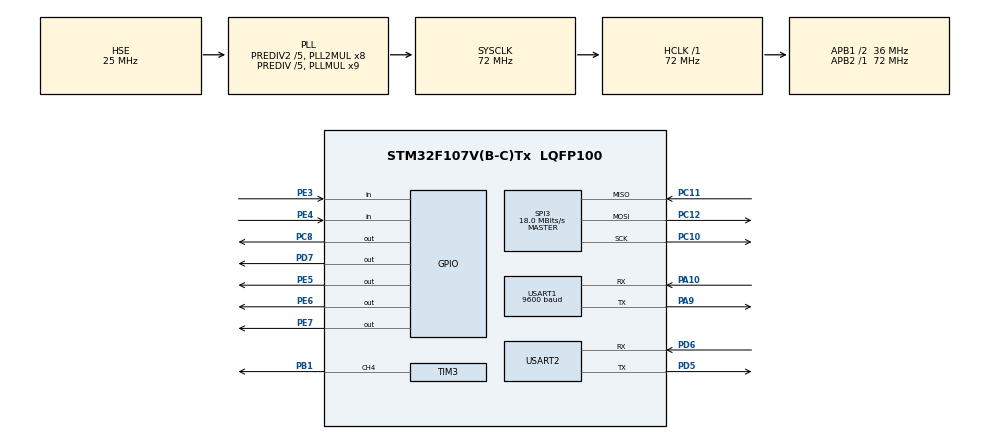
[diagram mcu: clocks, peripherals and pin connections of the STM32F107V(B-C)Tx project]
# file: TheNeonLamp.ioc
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Dma.Request0=TIM3_CH4/UP
Dma.TIM3_CH4/UP.0.Direction=DMA_MEMORY_TO_PERIPH
Dma.TIM3_CH4/UP.0.Instance=DMA1_Channel3
Dma.TIM3_CH4/UP.0.MemDataAlignment=DMA_MDATAALIGN_HALFWORD
Dma.TIM3_CH4/UP.0.MemInc=DMA_MINC_ENABLE
Dma.TIM3_CH4/UP.0.Mode=DMA_CIRCULAR
Dma.TIM3_CH4/UP.0.PeriphDataAlignment=DMA_PDATAALIGN_HALFWORD
Dma.TIM3_CH4/UP.0.PeriphInc=DMA_PINC_DISABLE
Dma.TIM3_CH4/UP.0.Priority=DMA_PRIORITY_HIGH
Mcu.Family=STM32F1
Mcu.Name=STM32F107V(B-C)Tx
Mcu.Package=LQFP100
NVIC.DMA1_Channel3_IRQn=true\:7\:0\:true\:false\:true\:false
NVIC.PriorityGroup=NVIC_PRIORITYGROUP_4
NVIC.TIM1_UP_IRQn=true\:2\:0\:true\:false\:true\:true
NVIC.TIM2_IRQn=true\:2\:0\:true\:false\:true\:true
OSC_IN.Mode=HSE-External-Oscillator
OSC_IN.Signal=RCC_OSC_IN
OSC_OUT.Mode=HSE-External-Oscillator
OSC_OUT.Signal=RCC_OSC_OUT
PA10.Mode=Asynchronous
PA10.Signal=USART1_RX
PA9.Mode=Asynchronous
PA9.Signal=USART1_TX
PB1.Signal=S_TIM3_CH4
PC10.Mode=Full_Duplex_Master
PC10.Signal=SPI3_SCK
PC11.Mode=Full_Duplex_Master
PC11.Signal=SPI3_MISO
PC12.Mode=Full_Duplex_Master
PC12.Signal=SPI3_MOSI
PC8.GPIO_Speed=GPIO_SPEED_FREQ_HIGH
PC8.Signal=GPIO_Output
PD5.Mode=Asynchronous
PD5.Signal=USART2_TX
PD6.Mode=Asynchronous
PD6.Signal=USART2_RX
PD7.GPIO_Speed=GPIO_SPEED_FREQ_HIGH
PD7.Signal=GPIO_Output
PE3.Signal=GPIO_Input
PE4.Signal=GPIO_Input
PE5.GPIO_Speed=GPIO_SPEED_FREQ_HIGH
PE5.Signal=GPIO_Output
PE6.GPIO_Speed=GPIO_SPEED_FREQ_HIGH
PE6.Signal=GPIO_Output
PE7.GPIO_Speed=GPIO_SPEED_FREQ_HIGH
PE7.Signal=GPIO_Output
ProjectManager.HeapSize=0x200
ProjectManager.StackSize=0x400
ProjectManager.TargetToolchain=MDK-ARM V5
RCC.AHBFreq_Value=72000000
RCC.APB1CLKDivider=RCC_HCLK_DIV2
RCC.APB1Freq_Value=36000000
RCC.APB1TimFreq_Value=72000000
RCC.APB2Freq_Value=72000000
RCC.APB2TimFreq_Value=72000000
RCC.HCLKFreq_Value=72000000
RCC.HSEDivPLL=RCC_HSE_PREDIV_DIV5
RCC.HSE_VALUE=25000000
RCC.PLLMUL=RCC_PLL_MUL9
RCC.PLLSourceVirtual=RCC_PLLSOURCE_HSE
RCC.Prediv1Source=RCC_PREDIV1_SOURCE_PLL2
RCC.Prediv2=RCC_HSE_PREDIV2_DIV5
RCC.SYSCLKFreq_VALUE=72000000
RCC.SYSCLKSource=RCC_SYSCLKSOURCE_PLLCLK
RCC.USBFreq_Value=48000000
RCC.VDD_VALUE=3.4
SH.S_TIM3_CH4.0=TIM3_CH4,PWM Generation4 CH4
SPI3.CLKPhase=SPI_PHASE_2EDGE
SPI3.CLKPolarity=SPI_POLARITY_HIGH
SPI3.CalculateBaudRate=18.0 MBits/s
SPI3.Direction=SPI_DIRECTION_2LINES
SPI3.Mode=SPI_MODE_MASTER
SPI3.VirtualType=VM_MASTER
TIM1.Period=1000-1
TIM1.Prescaler=72-1
TIM2.Period=1000-1
TIM2.Prescaler=72-1
TIM3.Channel-PWM\ Generation4\ CH4=TIM_CHANNEL_4
TIM3.Period=30-1
TIM3.Prescaler=3-1
TIM4.Period=1000-1
TIM4.Prescaler=72-1
USART1.BaudRate=9600
USART1.VirtualMode=VM_ASYNC
USART2.VirtualMode=VM_ASYNC
VP_SYS_VS_ND.Mode=No_Debug
VP_TIM1_VS_ClockSourceINT.Mode=Internal
VP_TIM2_VS_ClockSourceINT.Mode=Internal
VP_TIM3_VS_ClockSourceINT.Mode=Internal
VP_TIM4_VS_ClockSourceINT.Mode=Internal
board=TheNeonLamp

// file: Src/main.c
/**
  ******************************************************************************
  * File Name          : main.c
  * Description        : Main program body
  ******************************************************************************
  ** This notice applies to any and all portions of this file
  * that are not between comment pairs USER CODE BEGIN and
  * USER CODE END. Other portions of this file, whether
  * inserted by the user or by software development tools
  * are owned by their respective copyright owners.
  *
  * COPYRIGHT(c) 2018 STMicroelectronics
  *
  * Redistribution and use in source and binary forms, with or without modification,
  * are permitted provided that the following conditions are met:
  *   1. Redistributions of source code must retain the above copyright notice,
  *      this list of conditions and the following disclaimer.
  *   2. Redistributions in binary form must reproduce the above copyright notice,
  *      this list of conditions and the following disclaimer in the documentation
  *      and/or other materials provided with the distribution.
  *   3. Neither the name of STMicroelectronics nor the names of its contributors
  *      may be used to endorse or promote products derived from this software
  *      without specific prior written permission.
  *
  * THIS SOFTWARE IS PROVIDED BY THE COPYRIGHT HOLDERS AND CONTRIBUTORS "AS IS"
  * AND ANY EXPRESS OR IMPLIED WARRANTIES, INCLUDING, BUT NOT LIMITED TO, THE
  * IMPLIED WARRANTIES OF MERCHANTABILITY AND FITNESS FOR A PARTICULAR PURPOSE ARE
  * DISCLAIMED. IN NO EVENT SHALL THE COPYRIGHT HOLDER OR CONTRIBUTORS BE LIABLE
  * FOR ANY DIRECT, INDIRECT, INCIDENTAL, SPECIAL, EXEMPLARY, OR CONSEQUENTIAL
  * DAMAGES (INCLUDING, BUT NOT LIMITED TO, PROCUREMENT OF SUBSTITUTE GOODS OR
  * SERVICES; LOSS OF USE, DATA, OR PROFITS; OR BUSINESS INTERRUPTION) HOWEVER
  * CAUSED AND ON ANY THEORY OF LIABILITY, WHETHER IN CONTRACT, STRICT LIABILITY,
  * OR TORT (INCLUDING NEGLIGENCE OR OTHERWISE) ARISING IN ANY WAY OUT OF THE USE
  * OF THIS SOFTWARE, EVEN IF ADVISED OF THE POSSIBILITY OF SUCH DAMAGE.
  *
  ******************************************************************************
  */

#include "main.h"
#include "stm32f1xx_hal.h"

/* USER CODE BEGIN Includes */
#include "main.h"
#include "stm32f1xx_hal.h"
#include "et_stm32f_arm_kit_lcd.h"
#include <string.h>
#include <stdlib.h>
#define LED_COUNT		64
#define LED_BUFFER_SIZE		24*LED_COUNT+84	// Buffer size needs to be the number of LEDs times 24 bits plus 42 trailing bit to signify the end of the data being transmitted.
uint16_t led_buffer[LED_BUFFER_SIZE] = {0};
uint16_t tact_sw[64]={0};

#define PWM_HIGH_WIDTH		17					// Duty cycle of pwm signal for a logical 1 to be read by the ws2812 chip. Duty cycle = PWM_HIGH_WIDTH/TIM_PERIOD*100
#define PWM_LOW_WIDTH		9					// Duty cycle of pwm signal for a logical 0 to be read by the ws2812 chip. Duty cycle = PWM_LOW_WIDTH/TIM_PERIOD*100

/* USER CODE END Includes */

SPI_HandleTypeDef hspi3;

TIM_HandleTypeDef htim1;
TIM_HandleTypeDef htim2;
TIM_HandleTypeDef htim3;
TIM_HandleTypeDef htim4;
DMA_HandleTypeDef hdma_tim3_ch4_up;

UART_HandleTypeDef huart1;
UART_HandleTypeDef huart2;

/* USER CODE BEGIN PV */
/* Private variables ---------------------------------------------------------*/

/* USER CODE END PV */

void SystemClock_Config(void);
static void MX_GPIO_Init(void);
static void MX_DMA_Init(void);
static void MX_SPI3_Init(void);
static void MX_USART2_UART_Init(void);
static void MX_TIM1_Init(void);
static void MX_TIM2_Init(void);
static void MX_TIM4_Init(void);
static void MX_TIM3_Init(void);
static void MX_USART1_UART_Init(void);

void HAL_TIM_MspPostInit(TIM_HandleTypeDef *htim);

/* USER CODE BEGIN PFP */
/* Private function prototypes -----------------------------------------------*/

/* USER CODE END PFP */

/* USER CODE BEGIN 0 */

int yay[5];
char str[20];
int light_state=1;
char* ptr[5];
int old_color[3]; //{R,G,B}

/*void HAL_UART_RxCpltCallback(UART_HandleTypeDef *huart)
{
	 if (huart==&huart1) {
       // do something with rx_data
		 while(__HAL_UART_GET_FLAG(&huart1,UART_FLAG_RXNE)== RESET){}
		HAL_UART_Receive(&huart1, (uint8_t*) &str, 19, 30);
		//HAL_UART_Transmit(&huart2,(uint8_t *) str,19,100);
		//String to array
		str[strlen(str) - 1] = '\0';
		 ptr[0] = strtok(&str[1], ",");
		 if (ptr[0] != NULL) {
			int i = 1;
			while (ptr[i - 1] != NULL) {
			 ptr[i] = strtok(NULL, ",");
			 i++;
			}
		 }

       HAL_UART_Receive_IT(&huart1, str, 19);
    }

}*/

void rgb(int r,int g,int b)
{
	// Save Old color
	old_color[0] =  tact_sw[0]; //G Channel
	old_color[1] =  tact_sw[1]; //R Channel
	old_color[2] =  tact_sw[2]; //B Channel

	tact_sw[0]=g; //G Channel
	tact_sw[1]=r; //R Channel
	tact_sw[2]=b; //B Channel
	light_state=1;

	//HAL_Delay(10);

}
void doRainbow(){
	int timeout=4;
	for(int r=0;r<255;r++){
		for(int g=r;g>0;g--){
			for(int b=g;b<255;b++){
				rgb(r,g,b);
				//HAL_Delay(timeout);
			}

		}

	}
}

void pushToUART(int r,int g,int b,int state, int random){
	char send_data[20];
	sprintf(send_data,"[%03d,%03d,%03d,%d,%d]\n",r,g,b,state,random);
	HAL_UART_Transmit(&huart1,(uint8_t *) send_data,strlen(send_data),40);
}
void pushColorToUART(int r,int g,int b){
	char send_data[20];
	sprintf(send_data,"[%03d,%03d,%03d,%d,%d]\n",r,g,b,1,yay[4]);
	HAL_UART_Transmit(&huart1,(uint8_t *) send_data,strlen(send_data),40);
	HAL_UART_Transmit(&huart2,(uint8_t *) send_data,strlen(send_data),40);
	//HAL_Delay(100);
}

/* USER CODE END 0 */

int main(void)
{

  /* USER CODE BEGIN 1 */
uint16_t posX, posY;
	char pos[50];
	int check = 1;

	char outBuffer[100];

	int yay[5];
	//HAL_UART_Receive_IT(&huart1, (uint8_t*) &str, 19);

  /* USER CODE END 1 */

  /* MCU Configuration----------------------------------------------------------*/

  /* Reset of all peripherals, Initializes the Flash interface and the Systick. */
  HAL_Init();

  /* Configure the system clock */
  SystemClock_Config();

  /* Initialize all configured peripherals */
  MX_GPIO_Init();
  MX_DMA_Init();
  MX_SPI3_Init();
  MX_USART2_UART_Init();
  MX_TIM1_Init();
  MX_TIM2_Init();
  MX_TIM4_Init();
  MX_TIM3_Init();
  MX_USART1_UART_Init();

  /* USER CODE BEGIN 2 */

	LCD_Setup();
	LCD_Clear(Black);
	//write full circle 16 color 6x3
	//row 1
	LCD_SetBackColor(0xf206);
	LCD_DrawFullCircle(28, 292, 24);

	LCD_SetBackColor(0xe8ec);
	LCD_DrawFullCircle(28, 240, 24);

	LCD_SetBackColor(0x9936);
	LCD_DrawFullCircle(28, 188, 24);

	LCD_SetBackColor(0x61d6);
	LCD_DrawFullCircle(28, 136, 24);

	LCD_SetBackColor(0x3a96);
	LCD_DrawFullCircle(28, 84, 24);

	LCD_SetBackColor(0x24be);
	LCD_DrawFullCircle(28, 32, 24);

	//row 2
	LCD_SetBackColor(0x055e);
	LCD_DrawFullCircle(80, 292, 24);

	LCD_SetBackColor(0x05fa);
	LCD_DrawFullCircle(80, 240, 24);

	LCD_SetBackColor(0x04b1);
	LCD_DrawFullCircle(80, 188, 24);

	LCD_SetBackColor(0x4d6a);
	LCD_DrawFullCircle(80, 136, 24);

	LCD_SetBackColor(0x8e09);
	LCD_DrawFullCircle(80, 84, 24);

	LCD_SetBackColor(0xcee7);
	LCD_DrawFullCircle(80, 32, 24);

	//row 3
	LCD_SetBackColor(0xff47);
	LCD_DrawFullCircle(132, 292, 24);

	LCD_SetBackColor(0xfe00);
	LCD_DrawFullCircle(132, 240, 24);

	LCD_SetBackColor(0xfcc0);
	LCD_DrawFullCircle(132, 188, 24);

	LCD_SetBackColor(0xfaa4);
	LCD_DrawFullCircle(132, 136, 24);

	LCD_SetBackColor(0x7aa9);
	LCD_DrawFullCircle(132, 84, 24);

	LCD_SetBackColor(0x63f1);
	LCD_DrawFullCircle(132, 32, 24);

	HAL_TIM_Base_Start_IT (&htim4);

	HAL_TIM_Base_Start_IT (&htim1);//count

	HAL_TIM_PWM_Start_DMA(&htim3, TIM_CHANNEL_4, (uint32_t*) led_buffer, LED_BUFFER_SIZE);
  /* USER CODE END 2 */

  /* Infinite loop */
  /* USER CODE BEGIN WHILE */

	//check touchscreen row 1

  while (1)
  {
	//check touchscreen row 1
		posX = TCS_Read_X();
		posY = TCS_Read_Y();

		if(posX >= 266 && posX <= 314 && posY >= 4 && posY <= 48){
			LCD_SetBackColor(Black);
			LCD_DrawFullCircle(28, 292, 24);
			LCD_SetBackColor(0xf206);
			LCD_DrawFullCircle(28, 292, 24);
			rgb(244, 67, 54);
			pushColorToUART(244, 67, 54);
		}else if(posX >= 214 && posX <= 262 && posY >= 4 && posY <= 48){
			LCD_SetBackColor(Black);
			LCD_DrawFullCircle(28, 240, 24);
			LCD_SetBackColor(0xe8ec);
			LCD_DrawFullCircle(28, 240, 24);
			rgb(233, 30, 99);
			pushColorToUART(233, 30, 99);
		}else if(posX >= 162 && posX <= 210 && posY >= 4 && posY <= 48){
			LCD_SetBackColor(Black);
			LCD_DrawFullCircle(28, 188, 24);
			LCD_SetBackColor(0x9936);
			LCD_DrawFullCircle(28, 188, 24);
			rgb(156, 39, 176);
			pushColorToUART(156, 39, 176);
		}else if(posX >= 110 && posX <= 158 && posY >= 4 && posY <= 48){
			LCD_SetBackColor(Black);
			LCD_DrawFullCircle(28, 136, 24);
			LCD_SetBackColor(0x61d6);
			LCD_DrawFullCircle(28, 136, 24);
			rgb(103, 58, 183);
			pushColorToUART(103, 58, 183);
		}else if(posX >= 58 && posX <= 106 && posY >= 4 && posY <= 48){
			LCD_SetBackColor(Black);
			LCD_DrawFullCircle(28, 84, 24);
			LCD_SetBackColor(0x3a96);
			LCD_DrawFullCircle(28, 84, 24);
			rgb(63, 81, 181);
			pushColorToUART(63, 81, 181);

		}else if(posX >= 4 && posX <= 52 && posY >= 4 && posY <= 48){
			LCD_SetBackColor(Black);
			LCD_DrawFullCircle(28, 32, 24);
			LCD_SetBackColor(0x24be);
			LCD_DrawFullCircle(28, 32, 24);
			rgb(33, 150, 243);
			pushColorToUART(33, 150, 243);
		}

		//check touchscreen row 2

		posX = TCS_Read_X();
		posY = TCS_Read_Y();

		if(posX >= 266 && posX <= 314 && posY >= 56 && posY <= 104){
			LCD_SetBackColor(Black);
			LCD_DrawFullCircle(80, 292, 24);
			LCD_SetBackColor(0x055e);
			LCD_DrawFullCircle(80, 292, 24);
			rgb(3, 169, 244);
			pushColorToUART(3, 169, 244);
		}else if(posX >= 214 && posX <= 262 && posY >= 56 && posY <= 104){
			LCD_SetBackColor(Black);
			LCD_DrawFullCircle(80, 240, 24);
			LCD_SetBackColor(0x05fa);
			LCD_DrawFullCircle(80, 240, 24);
			rgb(0, 188, 212);
			pushColorToUART(0, 188, 212);
		}else if(posX >= 162 && posX <= 210 && posY >= 56 && posY <= 104){
			LCD_SetBackColor(Black);
			LCD_DrawFullCircle(80, 188, 24);
			LCD_SetBackColor(0x04b1);
			LCD_DrawFullCircle(80, 188, 24);
			rgb(0, 150, 136);
			pushColorToUART(0, 150, 136);
		}else if(posX >= 110 && posX <= 158 && posY >= 56 && posY <= 104){
			LCD_SetBackColor(Black);
			LCD_DrawFullCircle(80, 136, 24);
			LCD_SetBackColor(0x4d6a);
			LCD_DrawFullCircle(80, 136, 24);
			rgb(76, 175, 80);
			pushColorToUART(76, 175, 80);
		}else if(posX >= 58 && posX <= 106 && posY >= 56 && posY <= 104){
			LCD_SetBackColor(Black);
			LCD_DrawFullCircle(80, 84, 24);
			LCD_SetBackColor(0x8e09);
			LCD_DrawFullCircle(80, 84, 24);
			rgb(139, 195, 74);
			pushColorToUART(139, 195, 74);
		}else if(posX >= 4 && posX <= 52 && posY >= 56 && posY <= 104){
			LCD_SetBackColor(Black);
			LCD_DrawFullCircle(80, 32, 24);
			LCD_SetBackColor(0xcee7);
			LCD_DrawFullCircle(80, 32, 24);
			rgb(205, 220, 57);
			pushColorToUART(205, 220, 57);
		}

		posX = TCS_Read_X();
		posY = TCS_Read_Y();

	//check touchscreen row 3

		if(posX >= 266 && posX <= 314 && posY >= 108 && posY <= 156){
			LCD_SetBackColor(Black);
			LCD_DrawFullCircle(132, 292, 24);
			LCD_SetBackColor(0xff47);
			LCD_DrawFullCircle(132, 292, 24);
			rgb(255, 235, 59);
			pushColorToUART(255, 235, 59);
		}else if(posX >= 214 && posX <= 262 && posY >= 108 && posY <= 156){
			LCD_SetBackColor(Black);
			LCD_DrawFullCircle(132, 240, 24);
			LCD_SetBackColor(0xfe00);
			LCD_DrawFullCircle(132, 240, 24);
			rgb(255, 193, 7);
			pushColorToUART(255, 193, 7);
		}else if(posX >= 162 && posX <= 210 && posY >= 108 && posY <= 156){
			LCD_SetBackColor(Black);
			LCD_DrawFullCircle(132, 188, 24);
			LCD_SetBackColor(0xfcc0);
			LCD_DrawFullCircle(132, 188, 24);
			rgb(255, 152, 0);
			pushColorToUART(255, 152, 0);

		}else if(posX >= 110 && posX <= 158 && posY >= 108 && posY <= 156){
			LCD_SetBackColor(Black);
			LCD_DrawFullCircle(132, 136, 24);
			LCD_SetBackColor(0xfaa4);
			LCD_DrawFullCircle(132, 136, 24);
			rgb(255, 87, 34);
			pushColorToUART(255, 87, 34);
		}else if(posX >= 58 && posX <= 106 && posY >= 108 && posY <= 156){
			LCD_SetBackColor(Black);
			LCD_DrawFullCircle(132, 84, 24);
			LCD_SetBackColor(0x7aa9);
			LCD_DrawFullCircle(132, 84, 24);
			rgb(121, 85, 72);
			pushColorToUART(121, 85, 72);
		}else if(posX >= 4 && posX <= 52 && posY >= 108 && posY <= 156){
			LCD_SetBackColor(Black);
			LCD_DrawFullCircle(132, 32, 24);
			LCD_SetBackColor(0x63f1);
			LCD_DrawFullCircle(132, 32, 24);
			rgb(96, 125, 139);
			pushColorToUART(96,125,139);
		}
		else if(posY >= 168 && posY <= 240){
    //turn ON/OFF
			LCD_SetBackColor(0x000);
			rgb(0, 0, 0);
			pushColorToUART(0,0,0);
		}

		LCD_DisplayStringLine(Line7, "                    ");
		LCD_SetTextColor(Green);
		LCD_DisplayStringLine(Line8, "      TURN OFF      ");
		LCD_DisplayStringLine(Line9, "                    ");

		while(__HAL_UART_GET_FLAG(&huart1,UART_FLAG_RXNE)== RESET){}
		HAL_UART_Receive(&huart1, (uint8_t*) &str, 19, 30);
		//HAL_UART_Transmit(&huart2,(uint8_t *) str,19,100);
		//String to array
		str[strlen(str) - 1] = '\0';
		 ptr[0] = strtok(&str[1], ",");
		 if (ptr[0] != NULL) {
			int i = 1;
			while (ptr[i - 1] != NULL) {
			 ptr[i] = strtok(NULL, ",");
			 i++;
			}
		 }

		for (int i = 0; i < 5; i++) {
			yay[i] = atoi(ptr[i]);
		}
		 sprintf(outBuffer,"R:%d G:%d B:%d St:%d Rb:%d\n\r",yay[0],yay[1],yay[2],yay[3],yay[4]);
		 //rgb(yay[0], yay[1], yay[2]);
		if(yay[0]==0&&yay[1]==0&&yay[2]==0){

				rgb(0, 0, 0);

		}
		if(yay[0]!=old_color[1]&&yay[1]!=old_color[0]&&yay[2]!=old_color[2]){
			//if(yay[0]!=tact_sw[1]||yay[1]!=tact_sw[0]||yay[2]!=tact_sw[2]){
				rgb(yay[0], yay[1], yay[2]);
			//}

		}
		// Check On/Off
		/*if(yay[3]==0){
			old_color[0] =  tact_sw[0]; //G Channel
			old_color[1] =  tact_sw[1]; //R Channel
			old_color[2] =  tact_sw[2]; //B Channel
			rgb(0, 0, 0);
		}
		else{
				rgb(old_color[1], old_color[0], old_color[2]);
		}*/

		/*// Check On/Off
		if(yay[3]==0){
			old_color[0] =  tact_sw[0]; //G Channel
			old_color[1] =  tact_sw[1]; //R Channel
			old_color[2] =  tact_sw[2]; //B Channel
			rgb(0, 0, 0);
		}
		else{
			if(yay[0]!=old_color[1]||yay[1]!=old_color[0]||yay[2]!=old_color[2]){
				rgb(yay[0], yay[1], yay[2]);
			}
			else{
				tact_sw[0]=old_color[0]; //G Channel
				tact_sw[1]=old_color[1]; //R Channel
				tact_sw[2]=old_color[2]; //B Channel
			}

		}*/
		HAL_UART_Transmit(&huart2,(uint8_t *) outBuffer,strlen(outBuffer),100);
		//doRainbow();
  /* USER CODE END WHILE */

  }

}

/** System Clock Configuration
*/
void SystemClock_Config(void)
{

  RCC_OscInitTypeDef RCC_OscInitStruct;
  RCC_ClkInitTypeDef RCC_ClkInitStruct;

    /**Initializes the CPU, AHB and APB busses clocks
    */
  RCC_OscInitStruct.OscillatorType = RCC_OSCILLATORTYPE_HSE;
  RCC_OscInitStruct.HSEState = RCC_HSE_ON;
  RCC_OscInitStruct.HSEPredivValue = RCC_HSE_PREDIV_DIV5;
  RCC_OscInitStruct.HSIState = RCC_HSI_ON;
  RCC_OscInitStruct.Prediv1Source = RCC_PREDIV1_SOURCE_PLL2;
  RCC_OscInitStruct.PLL.PLLState = RCC_PLL_ON;
  RCC_OscInitStruct.PLL.PLLSource = RCC_PLLSOURCE_HSE;
  RCC_OscInitStruct.PLL.PLLMUL = RCC_PLL_MUL9;
  RCC_OscInitStruct.PLL2.PLL2State = RCC_PLL2_ON;
  RCC_OscInitStruct.PLL2.PLL2MUL = RCC_PLL2_MUL8;
  RCC_OscInitStruct.PLL2.HSEPrediv2Value = RCC_HSE_PREDIV2_DIV5;
  if (HAL_RCC_OscConfig(&RCC_OscInitStruct) != HAL_OK)
  {
    _Error_Handler(__FILE__, __LINE__);
  }

    /**Initializes the CPU, AHB and APB busses clocks
    */
  RCC_ClkInitStruct.ClockType = RCC_CLOCKTYPE_HCLK|RCC_CLOCKTYPE_SYSCLK
                              |RCC_CLOCKTYPE_PCLK1|RCC_CLOCKTYPE_PCLK2;
  RCC_ClkInitStruct.SYSCLKSource = RCC_SYSCLKSOURCE_PLLCLK;
  RCC_ClkInitStruct.AHBCLKDivider = RCC_SYSCLK_DIV1;
  RCC_ClkInitStruct.APB1CLKDivider = RCC_HCLK_DIV2;
  RCC_ClkInitStruct.APB2CLKDivider = RCC_HCLK_DIV1;

  if (HAL_RCC_ClockConfig(&RCC_ClkInitStruct, FLASH_LATENCY_2) != HAL_OK)
  {
    _Error_Handler(__FILE__, __LINE__);
  }

    /**Configure the Systick interrupt time
    */
  HAL_SYSTICK_Config(HAL_RCC_GetHCLKFreq()/1000);

    /**Configure the Systick
    */
  HAL_SYSTICK_CLKSourceConfig(SYSTICK_CLKSOURCE_HCLK);

    /**Configure the Systick interrupt time
    */
  __HAL_RCC_PLLI2S_ENABLE();

  /* SysTick_IRQn interrupt configuration */
  HAL_NVIC_SetPriority(SysTick_IRQn, 0, 0);
}

/* SPI3 init function */
static void MX_SPI3_Init(void)
{

  /* SPI3 parameter configuration*/
  hspi3.Instance = SPI3;
  hspi3.Init.Mode = SPI_MODE_MASTER;
  hspi3.Init.Direction = SPI_DIRECTION_2LINES;
  hspi3.Init.DataSize = SPI_DATASIZE_8BIT;
  hspi3.Init.CLKPolarity = SPI_POLARITY_HIGH;
  hspi3.Init.CLKPhase = SPI_PHASE_2EDGE;
  hspi3.Init.NSS = SPI_NSS_SOFT;
  hspi3.Init.BaudRatePrescaler = SPI_BAUDRATEPRESCALER_2;
  hspi3.Init.FirstBit = SPI_FIRSTBIT_MSB;
  hspi3.Init.TIMode = SPI_TIMODE_DISABLE;
  hspi3.Init.CRCCalculation = SPI_CRCCALCULATION_DISABLE;
  hspi3.Init.CRCPolynomial = 10;
  if (HAL_SPI_Init(&hspi3) != HAL_OK)
  {
    _Error_Handler(__FILE__, __LINE__);
  }

}

/* TIM1 init function */
static void MX_TIM1_Init(void)
{

  TIM_ClockConfigTypeDef sClockSourceConfig;
  TIM_MasterConfigTypeDef sMasterConfig;

  htim1.Instance = TIM1;
  htim1.Init.Prescaler = 72-1;
  htim1.Init.CounterMode = TIM_COUNTERMODE_UP;
  htim1.Init.Period = 1000-1;
  htim1.Init.ClockDivision = TIM_CLOCKDIVISION_DIV1;
  htim1.Init.RepetitionCounter = 0;
  htim1.Init.AutoReloadPreload = TIM_AUTORELOAD_PRELOAD_DISABLE;
  if (HAL_TIM_Base_Init(&htim1) != HAL_OK)
  {
    _Error_Handler(__FILE__, __LINE__);
  }

  sClockSourceConfig.ClockSource = TIM_CLOCKSOURCE_INTERNAL;
  if (HAL_TIM_ConfigClockSource(&htim1, &sClockSourceConfig) != HAL_OK)
  {
    _Error_Handler(__FILE__, __LINE__);
  }

  sMasterConfig.MasterOutputTrigger = TIM_TRGO_RESET;
  sMasterConfig.MasterSlaveMode = TIM_MASTERSLAVEMODE_DISABLE;
  if (HAL_TIMEx_MasterConfigSynchronization(&htim1, &sMasterConfig) != HAL_OK)
  {
    _Error_Handler(__FILE__, __LINE__);
  }

}

/* TIM2 init function */
static void MX_TIM2_Init(void)
{

  TIM_ClockConfigTypeDef sClockSourceConfig;
  TIM_MasterConfigTypeDef sMasterConfig;

  htim2.Instance = TIM2;
  htim2.Init.Prescaler = 72-1;
  htim2.Init.CounterMode = TIM_COUNTERMODE_UP;
  htim2.Init.Period = 1000-1;
  htim2.Init.ClockDivision = TIM_CLOCKDIVISION_DIV1;
  htim2.Init.AutoReloadPreload = TIM_AUTORELOAD_PRELOAD_DISABLE;
  if (HAL_TIM_Base_Init(&htim2) != HAL_OK)
  {
    _Error_Handler(__FILE__, __LINE__);
  }

  sClockSourceConfig.ClockSource = TIM_CLOCKSOURCE_INTERNAL;
  if (HAL_TIM_ConfigClockSource(&htim2, &sClockSourceConfig) != HAL_OK)
  {
    _Error_Handler(__FILE__, __LINE__);
  }

  sMasterConfig.MasterOutputTrigger = TIM_TRGO_RESET;
  sMasterConfig.MasterSlaveMode = TIM_MASTERSLAVEMODE_DISABLE;
  if (HAL_TIMEx_MasterConfigSynchronization(&htim2, &sMasterConfig) != HAL_OK)
  {
    _Error_Handler(__FILE__, __LINE__);
  }

}

/* TIM3 init function */
static void MX_TIM3_Init(void)
{

  TIM_ClockConfigTypeDef sClockSourceConfig;
  TIM_MasterConfigTypeDef sMasterConfig;
  TIM_OC_InitTypeDef sConfigOC;

  htim3.Instance = TIM3;
  htim3.Init.Prescaler = 3-1;
  htim3.Init.CounterMode = TIM_COUNTERMODE_UP;
  htim3.Init.Period = 30-1;
  htim3.Init.ClockDivision = TIM_CLOCKDIVISION_DIV1;
  htim3.Init.AutoReloadPreload = TIM_AUTORELOAD_PRELOAD_DISABLE;
  if (HAL_TIM_Base_Init(&htim3) != HAL_OK)
  {
    _Error_Handler(__FILE__, __LINE__);
  }

  sClockSourceConfig.ClockSource = TIM_CLOCKSOURCE_INTERNAL;
  if (HAL_TIM_ConfigClockSource(&htim3, &sClockSourceConfig) != HAL_OK)
  {
    _Error_Handler(__FILE__, __LINE__);
  }

  if (HAL_TIM_PWM_Init(&htim3) != HAL_OK)
  {
    _Error_Handler(__FILE__, __LINE__);
  }

  sMasterConfig.MasterOutputTrigger = TIM_TRGO_RESET;
  sMasterConfig.MasterSlaveMode = TIM_MASTERSLAVEMODE_DISABLE;
  if (HAL_TIMEx_MasterConfigSynchronization(&htim3, &sMasterConfig) != HAL_OK)
  {
    _Error_Handler(__FILE__, __LINE__);
  }

  sConfigOC.OCMode = TIM_OCMODE_PWM1;
  sConfigOC.Pulse = 0;
  sConfigOC.OCPolarity = TIM_OCPOLARITY_HIGH;
  sConfigOC.OCFastMode = TIM_OCFAST_DISABLE;
  if (HAL_TIM_PWM_ConfigChannel(&htim3, &sConfigOC, TIM_CHANNEL_4) != HAL_OK)
  {
    _Error_Handler(__FILE__, __LINE__);
  }

  HAL_TIM_MspPostInit(&htim3);

}

/* TIM4 init function */
static void MX_TIM4_Init(void)
{

  TIM_ClockConfigTypeDef sClockSourceConfig;
  TIM_MasterConfigTypeDef sMasterConfig;

  htim4.Instance = TIM4;
  htim4.Init.Prescaler = 72-1;
  htim4.Init.CounterMode = TIM_COUNTERMODE_UP;
  htim4.Init.Period = 1000-1;
  htim4.Init.ClockDivision = TIM_CLOCKDIVISION_DIV1;
  htim4.Init.AutoReloadPreload = TIM_AUTORELOAD_PRELOAD_DISABLE;
  if (HAL_TIM_Base_Init(&htim4) != HAL_OK)
  {
    _Error_Handler(__FILE__, __LINE__);
  }

  sClockSourceConfig.ClockSource = TIM_CLOCKSOURCE_INTERNAL;
  if (HAL_TIM_ConfigClockSource(&htim4, &sClockSourceConfig) != HAL_OK)
  {
    _Error_Handler(__FILE__, __LINE__);
  }

  sMasterConfig.MasterOutputTrigger = TIM_TRGO_RESET;
  sMasterConfig.MasterSlaveMode = TIM_MASTERSLAVEMODE_DISABLE;
  if (HAL_TIMEx_MasterConfigSynchronization(&htim4, &sMasterConfig) != HAL_OK)
  {
    _Error_Handler(__FILE__, __LINE__);
  }

}

/* USART1 init function */
static void MX_USART1_UART_Init(void)
{

  huart1.Instance = USART1;
  huart1.Init.BaudRate = 9600;
  huart1.Init.WordLength = UART_WORDLENGTH_8B;
  huart1.Init.StopBits = UART_STOPBITS_1;
  huart1.Init.Parity = UART_PARITY_NONE;
  huart1.Init.Mode = UART_MODE_TX_RX;
  huart1.Init.HwFlowCtl = UART_HWCONTROL_NONE;
  huart1.Init.OverSampling = UART_OVERSAMPLING_16;
  if (HAL_UART_Init(&huart1) != HAL_OK)
  {
    _Error_Handler(__FILE__, __LINE__);
  }

}

/* USART2 init function */
static void MX_USART2_UART_Init(void)
{

  huart2.Instance = USART2;
  huart2.Init.BaudRate = 115200;
  huart2.Init.WordLength = UART_WORDLENGTH_8B;
  huart2.Init.StopBits = UART_STOPBITS_1;
  huart2.Init.Parity = UART_PARITY_NONE;
  huart2.Init.Mode = UART_MODE_TX_RX;
  huart2.Init.HwFlowCtl = UART_HWCONTROL_NONE;
  huart2.Init.OverSampling = UART_OVERSAMPLING_16;
  if (HAL_UART_Init(&huart2) != HAL_OK)
  {
    _Error_Handler(__FILE__, __LINE__);
  }

}

static void MX_DMA_Init(void)
{
  /* DMA controller clock enable */
  __HAL_RCC_DMA1_CLK_ENABLE();

  /* DMA interrupt init */
  /* DMA1_Channel3_IRQn interrupt configuration */
  HAL_NVIC_SetPriority(DMA1_Channel3_IRQn, 7, 0);
  HAL_NVIC_EnableIRQ(DMA1_Channel3_IRQn);

}

/** Configure pins as
        * Analog
        * Input
        * Output
        * EVENT_OUT
        * EXTI
*/
static void MX_GPIO_Init(void)
{

  GPIO_InitTypeDef GPIO_InitStruct;

  /* GPIO Ports Clock Enable */
  __HAL_RCC_GPIOE_CLK_ENABLE();
  __HAL_RCC_GPIOB_CLK_ENABLE();
  __HAL_RCC_GPIOC_CLK_ENABLE();
  __HAL_RCC_GPIOA_CLK_ENABLE();
  __HAL_RCC_GPIOD_CLK_ENABLE();

  /*Configure GPIO pin Output Level */
  HAL_GPIO_WritePin(GPIOE, GPIO_PIN_5|GPIO_PIN_6|GPIO_PIN_7, GPIO_PIN_RESET);

  /*Configure GPIO pin Output Level */
  HAL_GPIO_WritePin(GPIOC, GPIO_PIN_8, GPIO_PIN_RESET);

  /*Configure GPIO pin Output Level */
  HAL_GPIO_WritePin(GPIOD, GPIO_PIN_7, GPIO_PIN_RESET);

  /*Configure GPIO pins : PE3 PE4 */
  GPIO_InitStruct.Pin = GPIO_PIN_3|GPIO_PIN_4;
  GPIO_InitStruct.Mode = GPIO_MODE_INPUT;
  GPIO_InitStruct.Pull = GPIO_NOPULL;
  HAL_GPIO_Init(GPIOE, &GPIO_InitStruct);

  /*Configure GPIO pins : PE5 PE6 PE7 */
  GPIO_InitStruct.Pin = GPIO_PIN_5|GPIO_PIN_6|GPIO_PIN_7;
  GPIO_InitStruct.Mode = GPIO_MODE_OUTPUT_PP;
  GPIO_InitStruct.Speed = GPIO_SPEED_FREQ_HIGH;
  HAL_GPIO_Init(GPIOE, &GPIO_InitStruct);

  /*Configure GPIO pin : PC8 */
  GPIO_InitStruct.Pin = GPIO_PIN_8;
  GPIO_InitStruct.Mode = GPIO_MODE_OUTPUT_PP;
  GPIO_InitStruct.Speed = GPIO_SPEED_FREQ_HIGH;
  HAL_GPIO_Init(GPIOC, &GPIO_InitStruct);

  /*Configure GPIO pin : PD7 */
  GPIO_InitStruct.Pin = GPIO_PIN_7;
  GPIO_InitStruct.Mode = GPIO_MODE_OUTPUT_PP;
  GPIO_InitStruct.Speed = GPIO_SPEED_FREQ_HIGH;
  HAL_GPIO_Init(GPIOD, &GPIO_InitStruct);

}

void _Error_Handler(char * file, int line)
{
  while(1)
  {
  }
}

/************************ (C) COPYRIGHT STMicroelectronics *****END OF FILE****/
